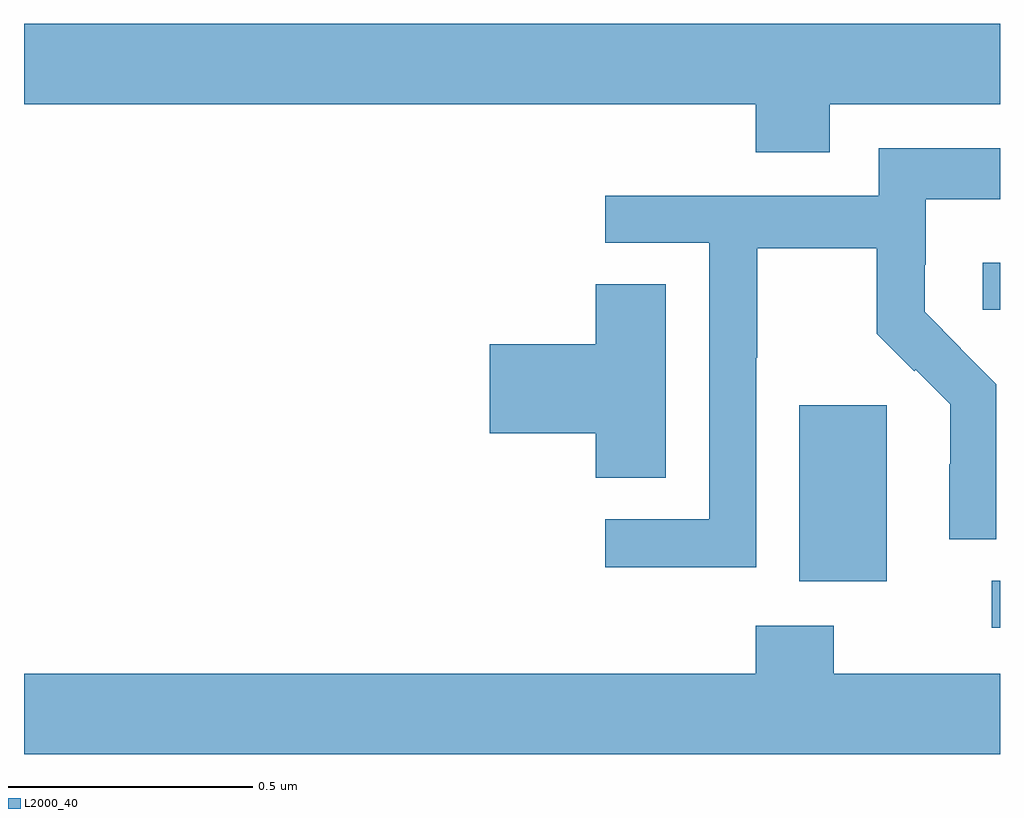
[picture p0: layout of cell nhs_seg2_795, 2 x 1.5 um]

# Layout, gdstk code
import gdstk
lib = gdstk.Library(unit=1e-6, precision=1e-09)
def R(c, l, rs):  # rectangles x0, y0, x1, y1
    for r in rs: c.add(gdstk.rectangle(r[:2], r[2:], *l))
def P(c, l, *ps):  # polygons
    for p in ps: c.add(gdstk.Polygon(p, *l))
L2000_40 = (2000, 40)

nhs_seg2_795 = lib.new_cell('nhs_seg2_795')
R(nhs_seg2_795, L2000_40, [(121.983,654.555,122,654.651), (121.589,654.65,121.768,655.011), (121.965,655.206,122,655.303)])
P(nhs_seg2_795, L2000_40, [(121.651,655.628),(122,655.628),(122,655.792),(120,655.792),(120,655.628),(121.499,655.628),(121.499,655.529),(121.651,655.529)],
  [(121.5,655.108),(121.503,655.108),(121.503,655.332),(121.747,655.332),(121.747,655.157),(121.824,655.08),(121.827,655.083),(121.898,655.013),(121.898,654.89),(121.896,654.89),(121.896,654.736),(121.992,654.736),(121.992,655.054),(121.919,655.127),(121.92,655.128),(121.846,655.202),(121.846,655.299),(121.848,655.299),(121.848,655.433),(122,655.433),(122,655.537),(121.752,655.537),(121.752,655.44),(121.191,655.44),(121.191,655.344),(121.404,655.344),(121.404,654.777),(121.191,654.777),(121.191,654.679),(121.5,654.679)],
  [(121.315,655.259),(121.172,655.259),(121.172,655.136),(120.954,655.136),(120.954,654.953),(121.172,654.953),(121.172,654.862),(121.315,654.862)],
  [(122,654.46),(121.659,654.46),(121.659,654.559),(121.499,654.559),(121.499,654.46),(120,654.46),(120,654.296),(122,654.296)])

lib.write_gds('nhs_seg2_795.gds')
